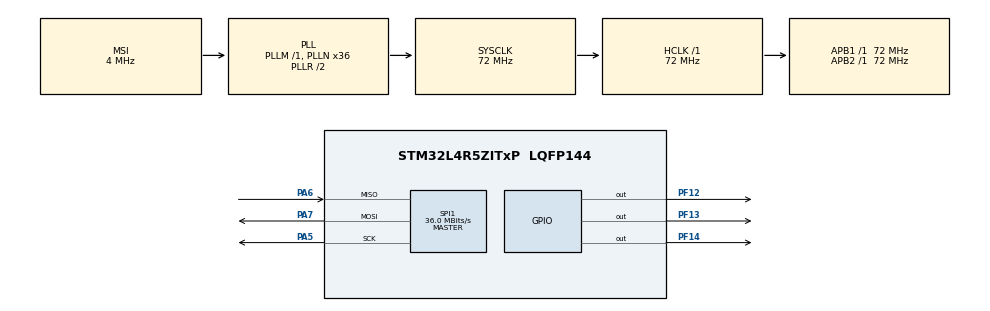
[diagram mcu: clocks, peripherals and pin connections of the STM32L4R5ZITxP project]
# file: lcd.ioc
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Mcu.Family=STM32L4
Mcu.Name=STM32L4R5ZITxP
Mcu.Package=LQFP144
NVIC.PriorityGroup=NVIC_PRIORITYGROUP_4
NVIC.TIM4_IRQn=true\:15\:0\:false\:false\:true\:false\:true\:true
NVIC.TimeBase=TIM4_IRQn
NVIC.TimeBaseIP=TIM4
PA0.Signal=S_TIM2_CH1
PA1.Signal=ADCx_IN6
PA10.Signal=USB_OTG_FS_ID
PA13\ (JTMS/SWDIO).Signal=SYS_JTMS-SWDIO
PA14\ (JTCK/SWCLK).Signal=SYS_JTCK-SWCLK
PA3.Signal=ADCx_IN8
PA4.Signal=SPI1_NSS
PA5.Mode=Full_Duplex_Master
PA5.Signal=SPI1_SCK
PA6.Mode=Full_Duplex_Master
PA6.Signal=SPI1_MISO
PA7.Mode=Full_Duplex_Master
PA7.Signal=SPI1_MOSI
PA8.Signal=USB_OTG_FS_SOF
PA9.Signal=USB_OTG_FS_VBUS
PB0.Signal=S_TIM3_CH3
PB1.Signal=ADCx_IN16
PB10.Signal=S_TIM2_CH3
PB12.Signal=SAI2_FS_A
PB13.Signal=SAI2_SCK_A
PB14.Signal=S_TIM15_CH1
PB15.Signal=SAI2_SD_A
PB2.Signal=COMP1_INP
PB3\ (JTDO/TRACESWO).Signal=SPI3_SCK
PB4\ (NJTRST).Signal=SPI3_MISO
PB5.Signal=SPI3_MOSI
PB6.Signal=COMP2_INP
PB8.Signal=I2C1_SCL
PB9.Signal=I2C1_SDA
PC0.Signal=ADCx_IN1
PC1.Signal=ADCx_IN2
PC10.Signal=SDMMC1_D2
PC11.Signal=SDMMC1_D3
PC12.Signal=SDMMC1_CK
PC13.Signal=SYS_WKUP2
PC14-OSC32_IN\ (PC14).Mode=LSE-External-Oscillator
PC14-OSC32_IN\ (PC14).Signal=RCC_OSC32_IN
PC15-OSC32_OUT\ (PC15).Mode=LSE-External-Oscillator
PC15-OSC32_OUT\ (PC15).Signal=RCC_OSC32_OUT
PC2.Signal=ADCx_IN3
PC3.Signal=ADCx_IN4
PC4.Signal=ADCx_IN13
PC5.Signal=ADCx_IN14
PC6.Signal=SAI2_MCLK_A
PC7.Signal=S_TIM3_CH2
PC8.Signal=SDMMC1_D0
PC9.Signal=SDMMC1_D1
PD0.Signal=CAN1_RX
PD14.Signal=S_TIM4_CH3
PD15.Signal=S_TIM4_CH4
PD2.Signal=SDMMC1_CMD
PD3.Signal=USART2_CTS
PD4.Signal=USART2_RTS
PD5.Signal=USART2_TX
PD6.Signal=USART2_RX
PD8.Signal=USART3_TX
PD9.Signal=USART3_RX
PE0.Signal=S_TIM4_ETR
PE10.Signal=TIM1_CH2N
PE11.Signal=S_TIM1_CH2
PE12.Signal=TIM1_CH3N
PE13.Signal=S_TIM1_CH3
PE14.Signal=TIM1_BKIN2
PE15.Signal=TIM1_BKIN
PE2.Signal=SAI1_MCLK_A
PE3.Signal=SAI1_SD_B
PE7.Signal=S_TIM1_ETR
PE8.Signal=TIM1_CH1N
PE9.Signal=S_TIM1_CH1
PF0.Signal=I2C2_SDA
PF1.Signal=I2C2_SCL
PF12.Signal=GPIO_Output
PF13.Signal=GPIO_Output
PF14.Signal=GPIO_Output
PF2.Signal=I2C2_SMBA
PF7.Signal=SAI1_MCLK_B
PG7.Signal=LPUART1_TX
PG8.Signal=LPUART1_RX
PH0-OSC_IN\ (PH0).Mode=HSE-External-Oscillator
PH0-OSC_IN\ (PH0).Signal=RCC_OSC_IN
PH1-OSC_OUT\ (PH1).Mode=HSE-External-Oscillator
PH1-OSC_OUT\ (PH1).Signal=RCC_OSC_OUT
ProjectManager.HeapSize=0x200
ProjectManager.StackSize=0x400
ProjectManager.TargetToolchain=STM32CubeIDE
RCC.AHBFreq_Value=72000000
RCC.APB1Freq_Value=72000000
RCC.APB1TimFreq_Value=72000000
RCC.APB2Freq_Value=72000000
RCC.APB2TimFreq_Value=72000000
RCC.CortexFreq_Value=72000000
RCC.HCLKFreq_Value=72000000
RCC.HSE_VALUE=8000000
RCC.HSI48_VALUE=48000000
RCC.HSI_VALUE=16000000
RCC.MSI_VALUE=4000000
RCC.PLLN=36
RCC.RTCClockSelection=RCC_RTCCLKSOURCE_LSE
RCC.SYSCLKFreq_VALUE=72000000
RCC.SYSCLKSource=RCC_SYSCLKSOURCE_PLLCLK
RCC.VCOOutputFreq_Value=144000000
SH.ADCx_IN1.0=ADC1_IN1
SH.ADCx_IN13.0=ADC1_IN13
SH.ADCx_IN14.0=ADC1_IN14
SH.ADCx_IN16.0=ADC1_IN16
SH.ADCx_IN2.0=ADC1_IN2
SH.ADCx_IN3.0=ADC1_IN3
SH.ADCx_IN4.0=ADC1_IN4
SH.ADCx_IN6.0=ADC1_IN6
SH.ADCx_IN8.0=ADC1_IN8
SH.S_TIM15_CH1.0=TIM15_CH1
SH.S_TIM1_CH1.0=TIM1_CH1
SH.S_TIM1_CH2.0=TIM1_CH2
SH.S_TIM1_CH3.0=TIM1_CH3
SH.S_TIM1_ETR.0=TIM1_ETR
SH.S_TIM2_CH1.0=TIM2_CH1
SH.S_TIM2_CH3.0=TIM2_CH3
SH.S_TIM3_CH2.0=TIM3_CH2
SH.S_TIM3_CH3.0=TIM3_CH3
SH.S_TIM4_CH3.0=TIM4_CH3
SH.S_TIM4_CH4.0=TIM4_CH4
SH.S_TIM4_ETR.0=TIM4_ETR
SPI1.BaudRatePrescaler=SPI_BAUDRATEPRESCALER_2
SPI1.CalculateBaudRate=36.0 MBits/s
SPI1.DataSize=SPI_DATASIZE_8BIT
SPI1.Direction=SPI_DIRECTION_2LINES
SPI1.Mode=SPI_MODE_MASTER
SPI1.VirtualType=VM_MASTER
VP_RTC_VS_RTC_Activate.Mode=RTC_Enabled
VP_SYS_VS_tim4.Mode=TIM4
board=NUCLEO-L4R5ZI-P

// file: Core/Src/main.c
/* USER CODE BEGIN Header */
/**
  ******************************************************************************
  * @file           : main.c
  * @brief          : Main program body
  ******************************************************************************
  * @attention
  *
  * Copyright (c) 2023 STMicroelectronics.
  * All rights reserved.
  *
  * This software is licensed under terms that can be found in the LICENSE file
  * in the root directory of this software component.
  * If no LICENSE file comes with this software, it is provided AS-IS.
  *
  ******************************************************************************
  */
/* USER CODE END Header */
#include "main.h"

/* USER CODE BEGIN Includes */
#include "lcd.h"
#include <stdlib.h>
/* USER CODE END Includes */

RTC_HandleTypeDef hrtc;

SPI_HandleTypeDef hspi1;

void SystemClock_Config(void);
static void MX_GPIO_Init(void);
static void MX_SPI1_Init(void);
static void MX_RTC_Init(void);

int main(void)
{

  /* MCU Configuration--------------------------------------------------------*/

  /* Reset of all peripherals, Initializes the Flash interface and the Systick. */
  HAL_Init();

  /* Configure the system clock */
  SystemClock_Config();

  /* Initialize all configured peripherals */
  MX_GPIO_Init();
  MX_SPI1_Init();
  MX_RTC_Init();
  /* USER CODE BEGIN 2 */
  LCD_begin(&hspi1);
  LCD_writePixels(&hspi1,HX8357_WHITE,0,0,480,320);
  LCD_drawBattery(&hspi1,380,120,HX8357_BLACK,8);
  LCD_drawFrame(&hspi1,HX8357_BLACK);

  char * name = "TADAMHESPEV | UMSM";
  char * speed = "SPEED:";
  char * temp = "TEMP:";
  char * power = "POWER:";

  char * mph = "mph";
  char * deg = "C";
  char * watt = "W";
  LCD_drawString(&hspi1,20,30 + 80*0,name,18,HX8357_BLACK,3);
  LCD_drawString(&hspi1,5,30 + 80*1,speed,6,HX8357_BLACK,3);
  LCD_drawString(&hspi1,5,30 + 80*2,temp,5,HX8357_BLACK,3);
  LCD_drawString(&hspi1,5,30 + 80*3,power,6,HX8357_BLACK,3);

  LCD_drawString(&hspi1,280,30 + 80*1,mph,3,HX8357_BLACK,3);
  LCD_drawString(&hspi1,306,30 + 80*2,deg,1,HX8357_BLACK,3);
  LCD_drawString(&hspi1,306,30 + 80*3,watt,1,HX8357_BLACK,3);

  int volt_percent = 85;
  char lev[801];
  itoa(volt_percent,lev,10);

  LCD_fillBattery(&hspi1,380,120,8,volt_percent);
  LCD_drawString(&hspi1,370,50,lev,3,HX8357_BLACK,4);
  LCD_drawString(&hspi1,442,50,"%",1,HX8357_BLACK,4);

  int buf[10] = {4,3,1,4,5,2};

  /* USER CODE END 2 */

  /* Infinite loop */
  while (1)
  {

    /* USER CODE BEGIN 3 */
	  LCD_updateVals(&hspi1,buf,HX8357_BLACK);
  }
  /* USER CODE END 3 */
}

void SystemClock_Config(void)
{
  RCC_OscInitTypeDef RCC_OscInitStruct = {0};
  RCC_ClkInitTypeDef RCC_ClkInitStruct = {0};

  /** Configure the main internal regulator output voltage
  */
  if (HAL_PWREx_ControlVoltageScaling(PWR_REGULATOR_VOLTAGE_SCALE1) != HAL_OK)
  {
    Error_Handler();
  }

  /** Configure LSE Drive Capability
  */
  HAL_PWR_EnableBkUpAccess();
  __HAL_RCC_LSEDRIVE_CONFIG(RCC_LSEDRIVE_LOW);

  /** Initializes the RCC Oscillators according to the specified parameters
  * in the RCC_OscInitTypeDef structure.
  */
  RCC_OscInitStruct.OscillatorType = RCC_OSCILLATORTYPE_LSE|RCC_OSCILLATORTYPE_MSI;
  RCC_OscInitStruct.LSEState = RCC_LSE_ON;
  RCC_OscInitStruct.MSIState = RCC_MSI_ON;
  RCC_OscInitStruct.MSICalibrationValue = 0;
  RCC_OscInitStruct.MSIClockRange = RCC_MSIRANGE_6;
  RCC_OscInitStruct.PLL.PLLState = RCC_PLL_ON;
  RCC_OscInitStruct.PLL.PLLSource = RCC_PLLSOURCE_MSI;
  RCC_OscInitStruct.PLL.PLLM = 1;
  RCC_OscInitStruct.PLL.PLLN = 36;
  RCC_OscInitStruct.PLL.PLLP = RCC_PLLP_DIV2;
  RCC_OscInitStruct.PLL.PLLQ = RCC_PLLQ_DIV2;
  RCC_OscInitStruct.PLL.PLLR = RCC_PLLR_DIV2;
  if (HAL_RCC_OscConfig(&RCC_OscInitStruct) != HAL_OK)
  {
    Error_Handler();
  }

  /** Initializes the CPU, AHB and APB buses clocks
  */
  RCC_ClkInitStruct.ClockType = RCC_CLOCKTYPE_HCLK|RCC_CLOCKTYPE_SYSCLK
                              |RCC_CLOCKTYPE_PCLK1|RCC_CLOCKTYPE_PCLK2;
  RCC_ClkInitStruct.SYSCLKSource = RCC_SYSCLKSOURCE_PLLCLK;
  RCC_ClkInitStruct.AHBCLKDivider = RCC_SYSCLK_DIV1;
  RCC_ClkInitStruct.APB1CLKDivider = RCC_HCLK_DIV1;
  RCC_ClkInitStruct.APB2CLKDivider = RCC_HCLK_DIV1;

  if (HAL_RCC_ClockConfig(&RCC_ClkInitStruct, FLASH_LATENCY_3) != HAL_OK)
  {
    Error_Handler();
  }
}

static void MX_RTC_Init(void)
{

  /** Initialize RTC Only
  */
  hrtc.Instance = RTC;
  hrtc.Init.HourFormat = RTC_HOURFORMAT_24;
  hrtc.Init.AsynchPrediv = 127;
  hrtc.Init.SynchPrediv = 255;
  hrtc.Init.OutPut = RTC_OUTPUT_DISABLE;
  hrtc.Init.OutPutRemap = RTC_OUTPUT_REMAP_NONE;
  hrtc.Init.OutPutPolarity = RTC_OUTPUT_POLARITY_HIGH;
  hrtc.Init.OutPutType = RTC_OUTPUT_TYPE_OPENDRAIN;
  if (HAL_RTC_Init(&hrtc) != HAL_OK)
  {
    Error_Handler();
  }

}

static void MX_SPI1_Init(void)
{

  /* SPI1 parameter configuration*/
  hspi1.Instance = SPI1;
  hspi1.Init.Mode = SPI_MODE_MASTER;
  hspi1.Init.Direction = SPI_DIRECTION_2LINES;
  hspi1.Init.DataSize = SPI_DATASIZE_8BIT;
  hspi1.Init.CLKPolarity = SPI_POLARITY_LOW;
  hspi1.Init.CLKPhase = SPI_PHASE_1EDGE;
  hspi1.Init.NSS = SPI_NSS_SOFT;
  hspi1.Init.BaudRatePrescaler = SPI_BAUDRATEPRESCALER_2;
  hspi1.Init.FirstBit = SPI_FIRSTBIT_MSB;
  hspi1.Init.TIMode = SPI_TIMODE_DISABLE;
  hspi1.Init.CRCCalculation = SPI_CRCCALCULATION_DISABLE;
  hspi1.Init.CRCPolynomial = 7;
  hspi1.Init.CRCLength = SPI_CRC_LENGTH_DATASIZE;
  hspi1.Init.NSSPMode = SPI_NSS_PULSE_ENABLE;
  if (HAL_SPI_Init(&hspi1) != HAL_OK)
  {
    Error_Handler();
  }

}

static void MX_GPIO_Init(void)
{
  GPIO_InitTypeDef GPIO_InitStruct = {0};

  /* GPIO Ports Clock Enable */
  __HAL_RCC_GPIOE_CLK_ENABLE();
  __HAL_RCC_GPIOC_CLK_ENABLE();
  __HAL_RCC_GPIOF_CLK_ENABLE();
  __HAL_RCC_GPIOH_CLK_ENABLE();
  __HAL_RCC_GPIOA_CLK_ENABLE();
  __HAL_RCC_GPIOB_CLK_ENABLE();
  __HAL_RCC_GPIOD_CLK_ENABLE();
  __HAL_RCC_GPIOG_CLK_ENABLE();
  HAL_PWREx_EnableVddIO2();

  /*Configure GPIO pin Output Level */
  HAL_GPIO_WritePin(GPIOF, GPIO_PIN_12|GPIO_PIN_13|GPIO_PIN_14, GPIO_PIN_RESET);

  /*Configure GPIO pins : PE2 PE3 */
  GPIO_InitStruct.Pin = GPIO_PIN_2|GPIO_PIN_3;
  GPIO_InitStruct.Mode = GPIO_MODE_AF_PP;
  GPIO_InitStruct.Pull = GPIO_NOPULL;
  GPIO_InitStruct.Speed = GPIO_SPEED_FREQ_LOW;
  GPIO_InitStruct.Alternate = GPIO_AF13_SAI1;
  HAL_GPIO_Init(GPIOE, &GPIO_InitStruct);

  /*Configure GPIO pins : PF0 PF1 PF2 */
  GPIO_InitStruct.Pin = GPIO_PIN_0|GPIO_PIN_1|GPIO_PIN_2;
  GPIO_InitStruct.Mode = GPIO_MODE_AF_OD;
  GPIO_InitStruct.Pull = GPIO_NOPULL;
  GPIO_InitStruct.Speed = GPIO_SPEED_FREQ_VERY_HIGH;
  GPIO_InitStruct.Alternate = GPIO_AF4_I2C2;
  HAL_GPIO_Init(GPIOF, &GPIO_InitStruct);

  /*Configure GPIO pin : PF7 */
  GPIO_InitStruct.Pin = GPIO_PIN_7;
  GPIO_InitStruct.Mode = GPIO_MODE_AF_PP;
  GPIO_InitStruct.Pull = GPIO_NOPULL;
  GPIO_InitStruct.Speed = GPIO_SPEED_FREQ_LOW;
  GPIO_InitStruct.Alternate = GPIO_AF13_SAI1;
  HAL_GPIO_Init(GPIOF, &GPIO_InitStruct);

  /*Configure GPIO pins : PC0 PC1 PC2 PC3
                           PC4 PC5 */
  GPIO_InitStruct.Pin = GPIO_PIN_0|GPIO_PIN_1|GPIO_PIN_2|GPIO_PIN_3
                          |GPIO_PIN_4|GPIO_PIN_5;
  GPIO_InitStruct.Mode = GPIO_MODE_ANALOG_ADC_CONTROL;
  GPIO_InitStruct.Pull = GPIO_NOPULL;
  HAL_GPIO_Init(GPIOC, &GPIO_InitStruct);

  /*Configure GPIO pin : PA0 */
  GPIO_InitStruct.Pin = GPIO_PIN_0;
  GPIO_InitStruct.Mode = GPIO_MODE_AF_PP;
  GPIO_InitStruct.Pull = GPIO_NOPULL;
  GPIO_InitStruct.Speed = GPIO_SPEED_FREQ_LOW;
  GPIO_InitStruct.Alternate = GPIO_AF1_TIM2;
  HAL_GPIO_Init(GPIOA, &GPIO_InitStruct);

  /*Configure GPIO pins : PA1 PA3 */
  GPIO_InitStruct.Pin = GPIO_PIN_1|GPIO_PIN_3;
  GPIO_InitStruct.Mode = GPIO_MODE_ANALOG_ADC_CONTROL;
  GPIO_InitStruct.Pull = GPIO_NOPULL;
  HAL_GPIO_Init(GPIOA, &GPIO_InitStruct);

  /*Configure GPIO pin : PB0 */
  GPIO_InitStruct.Pin = GPIO_PIN_0;
  GPIO_InitStruct.Mode = GPIO_MODE_AF_PP;
  GPIO_InitStruct.Pull = GPIO_NOPULL;
  GPIO_InitStruct.Speed = GPIO_SPEED_FREQ_LOW;
  GPIO_InitStruct.Alternate = GPIO_AF2_TIM3;
  HAL_GPIO_Init(GPIOB, &GPIO_InitStruct);

  /*Configure GPIO pin : PB1 */
  GPIO_InitStruct.Pin = GPIO_PIN_1;
  GPIO_InitStruct.Mode = GPIO_MODE_ANALOG_ADC_CONTROL;
  GPIO_InitStruct.Pull = GPIO_NOPULL;
  HAL_GPIO_Init(GPIOB, &GPIO_InitStruct);

  /*Configure GPIO pins : PB2 PB6 */
  GPIO_InitStruct.Pin = GPIO_PIN_2|GPIO_PIN_6;
  GPIO_InitStruct.Mode = GPIO_MODE_ANALOG;
  GPIO_InitStruct.Pull = GPIO_NOPULL;
  HAL_GPIO_Init(GPIOB, &GPIO_InitStruct);

  /*Configure GPIO pins : PF12 PF13 PF14 */
  GPIO_InitStruct.Pin = GPIO_PIN_12|GPIO_PIN_13|GPIO_PIN_14;
  GPIO_InitStruct.Mode = GPIO_MODE_OUTPUT_PP;
  GPIO_InitStruct.Pull = GPIO_NOPULL;
  GPIO_InitStruct.Speed = GPIO_SPEED_FREQ_LOW;
  HAL_GPIO_Init(GPIOF, &GPIO_InitStruct);

  /*Configure GPIO pins : PE7 PE8 PE9 PE10
                           PE11 PE12 PE13 */
  GPIO_InitStruct.Pin = GPIO_PIN_7|GPIO_PIN_8|GPIO_PIN_9|GPIO_PIN_10
                          |GPIO_PIN_11|GPIO_PIN_12|GPIO_PIN_13;
  GPIO_InitStruct.Mode = GPIO_MODE_AF_PP;
  GPIO_InitStruct.Pull = GPIO_NOPULL;
  GPIO_InitStruct.Speed = GPIO_SPEED_FREQ_LOW;
  GPIO_InitStruct.Alternate = GPIO_AF1_TIM1;
  HAL_GPIO_Init(GPIOE, &GPIO_InitStruct);

  /*Configure GPIO pins : PE14 PE15 */
  GPIO_InitStruct.Pin = GPIO_PIN_14|GPIO_PIN_15;
  GPIO_InitStruct.Mode = GPIO_MODE_AF_PP;
  GPIO_InitStruct.Pull = GPIO_NOPULL;
  GPIO_InitStruct.Speed = GPIO_SPEED_FREQ_LOW;
  GPIO_InitStruct.Alternate = GPIO_AF3_TIM1_COMP1;
  HAL_GPIO_Init(GPIOE, &GPIO_InitStruct);

  /*Configure GPIO pin : PB10 */
  GPIO_InitStruct.Pin = GPIO_PIN_10;
  GPIO_InitStruct.Mode = GPIO_MODE_AF_PP;
  GPIO_InitStruct.Pull = GPIO_NOPULL;
  GPIO_InitStruct.Speed = GPIO_SPEED_FREQ_LOW;
  GPIO_InitStruct.Alternate = GPIO_AF1_TIM2;
  HAL_GPIO_Init(GPIOB, &GPIO_InitStruct);

  /*Configure GPIO pins : PB12 PB13 PB15 */
  GPIO_InitStruct.Pin = GPIO_PIN_12|GPIO_PIN_13|GPIO_PIN_15;
  GPIO_InitStruct.Mode = GPIO_MODE_AF_PP;
  GPIO_InitStruct.Pull = GPIO_NOPULL;
  GPIO_InitStruct.Speed = GPIO_SPEED_FREQ_LOW;
  GPIO_InitStruct.Alternate = GPIO_AF13_SAI2;
  HAL_GPIO_Init(GPIOB, &GPIO_InitStruct);

  /*Configure GPIO pin : PB14 */
  GPIO_InitStruct.Pin = GPIO_PIN_14;
  GPIO_InitStruct.Mode = GPIO_MODE_AF_PP;
  GPIO_InitStruct.Pull = GPIO_NOPULL;
  GPIO_InitStruct.Speed = GPIO_SPEED_FREQ_LOW;
  GPIO_InitStruct.Alternate = GPIO_AF14_TIM15;
  HAL_GPIO_Init(GPIOB, &GPIO_InitStruct);

  /*Configure GPIO pins : PD8 PD9 */
  GPIO_InitStruct.Pin = GPIO_PIN_8|GPIO_PIN_9;
  GPIO_InitStruct.Mode = GPIO_MODE_AF_PP;
  GPIO_InitStruct.Pull = GPIO_NOPULL;
  GPIO_InitStruct.Speed = GPIO_SPEED_FREQ_VERY_HIGH;
  GPIO_InitStruct.Alternate = GPIO_AF7_USART3;
  HAL_GPIO_Init(GPIOD, &GPIO_InitStruct);

  /*Configure GPIO pins : PD14 PD15 */
  GPIO_InitStruct.Pin = GPIO_PIN_14|GPIO_PIN_15;
  GPIO_InitStruct.Mode = GPIO_MODE_AF_PP;
  GPIO_InitStruct.Pull = GPIO_NOPULL;
  GPIO_InitStruct.Speed = GPIO_SPEED_FREQ_LOW;
  GPIO_InitStruct.Alternate = GPIO_AF2_TIM4;
  HAL_GPIO_Init(GPIOD, &GPIO_InitStruct);

  /*Configure GPIO pins : PG7 PG8 */
  GPIO_InitStruct.Pin = GPIO_PIN_7|GPIO_PIN_8;
  GPIO_InitStruct.Mode = GPIO_MODE_AF_PP;
  GPIO_InitStruct.Pull = GPIO_NOPULL;
  GPIO_InitStruct.Speed = GPIO_SPEED_FREQ_VERY_HIGH;
  GPIO_InitStruct.Alternate = GPIO_AF8_LPUART1;
  HAL_GPIO_Init(GPIOG, &GPIO_InitStruct);

  /*Configure GPIO pin : PC6 */
  GPIO_InitStruct.Pin = GPIO_PIN_6;
  GPIO_InitStruct.Mode = GPIO_MODE_AF_PP;
  GPIO_InitStruct.Pull = GPIO_NOPULL;
  GPIO_InitStruct.Speed = GPIO_SPEED_FREQ_LOW;
  GPIO_InitStruct.Alternate = GPIO_AF13_SAI2;
  HAL_GPIO_Init(GPIOC, &GPIO_InitStruct);

  /*Configure GPIO pin : PC7 */
  GPIO_InitStruct.Pin = GPIO_PIN_7;
  GPIO_InitStruct.Mode = GPIO_MODE_AF_PP;
  GPIO_InitStruct.Pull = GPIO_NOPULL;
  GPIO_InitStruct.Speed = GPIO_SPEED_FREQ_LOW;
  GPIO_InitStruct.Alternate = GPIO_AF2_TIM3;
  HAL_GPIO_Init(GPIOC, &GPIO_InitStruct);

  /*Configure GPIO pins : PC8 PC9 PC10 PC11
                           PC12 */
  GPIO_InitStruct.Pin = GPIO_PIN_8|GPIO_PIN_9|GPIO_PIN_10|GPIO_PIN_11
                          |GPIO_PIN_12;
  GPIO_InitStruct.Mode = GPIO_MODE_AF_PP;
  GPIO_InitStruct.Pull = GPIO_NOPULL;
  GPIO_InitStruct.Speed = GPIO_SPEED_FREQ_VERY_HIGH;
  GPIO_InitStruct.Alternate = GPIO_AF12_SDMMC1;
  HAL_GPIO_Init(GPIOC, &GPIO_InitStruct);

  /*Configure GPIO pins : PA8 PA10 */
  GPIO_InitStruct.Pin = GPIO_PIN_8|GPIO_PIN_10;
  GPIO_InitStruct.Mode = GPIO_MODE_AF_PP;
  GPIO_InitStruct.Pull = GPIO_NOPULL;
  GPIO_InitStruct.Speed = GPIO_SPEED_FREQ_VERY_HIGH;
  GPIO_InitStruct.Alternate = GPIO_AF10_OTG_FS;
  HAL_GPIO_Init(GPIOA, &GPIO_InitStruct);

  /*Configure GPIO pin : PA9 */
  GPIO_InitStruct.Pin = GPIO_PIN_9;
  GPIO_InitStruct.Mode = GPIO_MODE_INPUT;
  GPIO_InitStruct.Pull = GPIO_NOPULL;
  HAL_GPIO_Init(GPIOA, &GPIO_InitStruct);

  /*Configure GPIO pin : PD0 */
  GPIO_InitStruct.Pin = GPIO_PIN_0;
  GPIO_InitStruct.Mode = GPIO_MODE_AF_PP;
  GPIO_InitStruct.Pull = GPIO_NOPULL;
  GPIO_InitStruct.Speed = GPIO_SPEED_FREQ_VERY_HIGH;
  GPIO_InitStruct.Alternate = GPIO_AF9_CAN1;
  HAL_GPIO_Init(GPIOD, &GPIO_InitStruct);

  /*Configure GPIO pin : PD2 */
  GPIO_InitStruct.Pin = GPIO_PIN_2;
  GPIO_InitStruct.Mode = GPIO_MODE_AF_PP;
  GPIO_InitStruct.Pull = GPIO_NOPULL;
  GPIO_InitStruct.Speed = GPIO_SPEED_FREQ_VERY_HIGH;
  GPIO_InitStruct.Alternate = GPIO_AF12_SDMMC1;
  HAL_GPIO_Init(GPIOD, &GPIO_InitStruct);

  /*Configure GPIO pins : PD3 PD4 PD5 PD6 */
  GPIO_InitStruct.Pin = GPIO_PIN_3|GPIO_PIN_4|GPIO_PIN_5|GPIO_PIN_6;
  GPIO_InitStruct.Mode = GPIO_MODE_AF_PP;
  GPIO_InitStruct.Pull = GPIO_NOPULL;
  GPIO_InitStruct.Speed = GPIO_SPEED_FREQ_VERY_HIGH;
  GPIO_InitStruct.Alternate = GPIO_AF7_USART2;
  HAL_GPIO_Init(GPIOD, &GPIO_InitStruct);

  /*Configure GPIO pins : PB3 PB4 PB5 */
  GPIO_InitStruct.Pin = GPIO_PIN_3|GPIO_PIN_4|GPIO_PIN_5;
  GPIO_InitStruct.Mode = GPIO_MODE_AF_PP;
  GPIO_InitStruct.Pull = GPIO_NOPULL;
  GPIO_InitStruct.Speed = GPIO_SPEED_FREQ_VERY_HIGH;
  GPIO_InitStruct.Alternate = GPIO_AF6_SPI3;
  HAL_GPIO_Init(GPIOB, &GPIO_InitStruct);

  /*Configure GPIO pins : PB8 PB9 */
  GPIO_InitStruct.Pin = GPIO_PIN_8|GPIO_PIN_9;
  GPIO_InitStruct.Mode = GPIO_MODE_AF_OD;
  GPIO_InitStruct.Pull = GPIO_NOPULL;
  GPIO_InitStruct.Speed = GPIO_SPEED_FREQ_VERY_HIGH;
  GPIO_InitStruct.Alternate = GPIO_AF4_I2C1;
  HAL_GPIO_Init(GPIOB, &GPIO_InitStruct);

  /*Configure GPIO pin : PE0 */
  GPIO_InitStruct.Pin = GPIO_PIN_0;
  GPIO_InitStruct.Mode = GPIO_MODE_AF_PP;
  GPIO_InitStruct.Pull = GPIO_NOPULL;
  GPIO_InitStruct.Speed = GPIO_SPEED_FREQ_LOW;
  GPIO_InitStruct.Alternate = GPIO_AF2_TIM4;
  HAL_GPIO_Init(GPIOE, &GPIO_InitStruct);

}

void HAL_TIM_PeriodElapsedCallback(TIM_HandleTypeDef *htim)
{
  if (htim->Instance == TIM4) {
    HAL_IncTick();
  }
}

void Error_Handler(void)
{
  __disable_irq();
  while (1)
  {
  }
}
